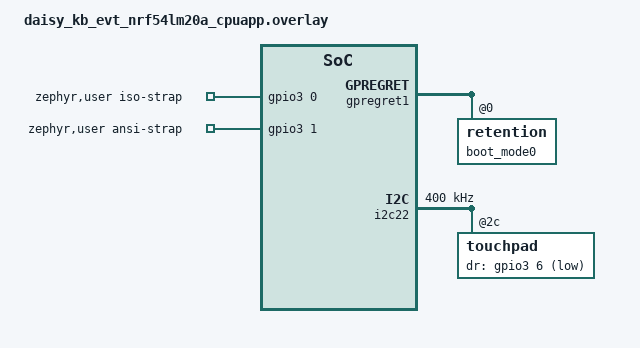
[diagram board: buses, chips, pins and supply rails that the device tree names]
#include <dt-bindings/i2c/i2c.h>

/ {
    chosen {
        zmk,keyboard-hid = &hid_dev_0;
        zephyr,boot-mode = &boot_mode0;
    };

    hid_dev_0: hid_dev_0 {
        compatible = "zephyr,hid-device";
        label = "HID0";
        protocol-code = "keyboard";
        in-report-size = <64>;
        /* 125 us = bInterval 1 at high speed (8 kHz polling). The FS
         * descriptor set clamps to 1 ms (the FS protocol minimum). */
        in-polling-period-us = <125>;
    };

    /* Layout strap GPIOs (read at boot to detect ANSI/ISO/JIS). */
    zephyr,user {
        iso-strap-gpios = <&gpio3 0 GPIO_ACTIVE_HIGH>;
        ansi-strap-gpios = <&gpio3 1 GPIO_ACTIVE_HIGH>;
    };
};

&gpregret1 {
    status = "okay";

    boot_mode0: boot_mode@0 {
        compatible = "zephyr,retention";
        status = "okay";
        reg = <0x0 0x1>;
    };
};

#include "nrf54lm20a_partitions.dtsi"

/* Pairing button moved to P3.10 on KB EVT (POC uses P1.13 from the shield
 * base in daisy.dtsi). Assumes external pull-up like the POC; add
 * GPIO_PULL_UP here if the EVT PCB lacks one. */
&buttons_input {
    input-gpios = <&gpio3 10 (GPIO_ACTIVE_LOW)>;
};

/* P3.10 is owned by &buttons_input (input-gpio-direct). The board's gpio-keys
 * pairing_button node would double-drive the same pin's interrupt config
 * (EDGE_BOTH/DISABLE vs LEVEL_ACTIVE/DISABLE, last writer wins) and can leave
 * it disabled or GPIO_DISCONNECTED (its PM suspend hook) -> button dead until
 * reboot. Nothing consumes its INPUT_KEY_0 events. factory_hid.c only needs
 * the node's GPIO spec, which still resolves when disabled. */
&pairing_button {
    status = "disabled";
};

/* The mode switch is read directly by protocol_switch.c as a level/SENSE GPIO
 * (which doubles as the System-OFF wake source). Disable the board's gpio-keys
 * child so its EDGE_BOTH interrupt and PM-suspend hook can't fight over the
 * pin, the same double-driver problem as pairing_button above. The label's
 * `gpios` spec still resolves for protocol_switch.c and factory_hid.c. */
&protocol_switch {
    status = "disabled";
};

/* Daisy EVT matrix: KSI0..7 on P0.00..P0.07, KSO0..17 on P1.00..P1.17. */
&matrix_input {
    col-gpios
        = <&gpio1  0 GPIO_ACTIVE_HIGH> // KSO0
        , <&gpio1  1 GPIO_ACTIVE_HIGH> // KSO1
	// Changing to P1.18 in DVT1
        , <&gpio1  2 GPIO_ACTIVE_HIGH> // KSO2
	// Changing to P1.19 in DVT1
        , <&gpio1  3 GPIO_ACTIVE_HIGH> // KSO3
        , <&gpio1  4 GPIO_ACTIVE_HIGH> // KSO4
        , <&gpio1  5 GPIO_ACTIVE_HIGH> // KSO5
        , <&gpio1  6 GPIO_ACTIVE_HIGH> // KSO6
        , <&gpio1  7 GPIO_ACTIVE_HIGH> // KSO7
        , <&gpio1  8 GPIO_ACTIVE_HIGH> // KSO8
        , <&gpio1  9 GPIO_ACTIVE_HIGH> // KSO9
        , <&gpio1 10 GPIO_ACTIVE_HIGH> // KSO10
        , <&gpio1 11 GPIO_ACTIVE_HIGH> // KSO11
        , <&gpio1 12 GPIO_ACTIVE_HIGH> // KSO12
        , <&gpio1 13 GPIO_ACTIVE_HIGH> // KSO13
        , <&gpio1 14 GPIO_ACTIVE_HIGH> // KSO14
        , <&gpio1 15 GPIO_ACTIVE_HIGH> // KSO15
        , <&gpio1 16 GPIO_ACTIVE_HIGH> // KSO16
        , <&gpio1 17 GPIO_ACTIVE_HIGH> // KSO17
        ;

    row-gpios
        = <&gpio0 0 (GPIO_ACTIVE_HIGH | GPIO_PULL_DOWN)> // KSI0
        , <&gpio0 1 (GPIO_ACTIVE_HIGH | GPIO_PULL_DOWN)> // KSI1
        , <&gpio0 2 (GPIO_ACTIVE_HIGH | GPIO_PULL_DOWN)> // KSI2
        , <&gpio0 3 (GPIO_ACTIVE_HIGH | GPIO_PULL_DOWN)> // KSI3
        , <&gpio0 4 (GPIO_ACTIVE_HIGH | GPIO_PULL_DOWN)> // KSI4
        , <&gpio0 5 (GPIO_ACTIVE_HIGH | GPIO_PULL_DOWN)> // KSI5
        , <&gpio0 6 (GPIO_ACTIVE_HIGH | GPIO_PULL_DOWN)> // KSI6
        , <&gpio0 7 (GPIO_ACTIVE_HIGH | GPIO_PULL_DOWN)> // KSI7
        ;
};

&i2c22 {
    /* 400kHz clock-rate - max what the touchpad supports */
    clock-frequency = <I2C_BITRATE_FAST>;

    touchpad: touchpad@2c {
        #include "../daisy-touchpad.dtsi"
        dr-gpios = <&gpio3 6 (GPIO_ACTIVE_LOW | GPIO_PULL_UP)>;
    };
};
